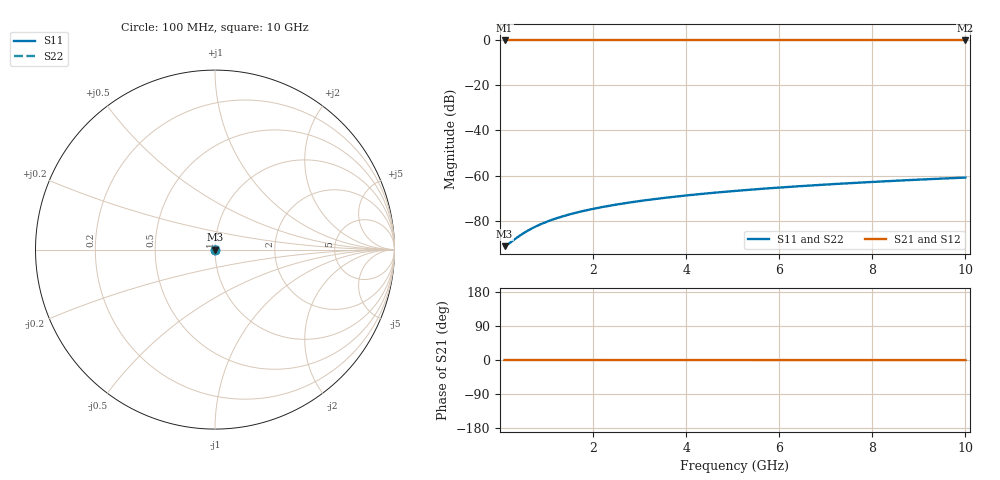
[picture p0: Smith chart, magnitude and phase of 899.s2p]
# Hz S RI R 50.00
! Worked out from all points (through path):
!   100 points, 100 MHz to 10 GHz, reference 50 ohm
!   highest |S21| = 0.00 dB at 100 MHz (marker M1); lowest = 0.0 dB at 10 GHz (marker M2)
!   lowest |S11| = -91.4 dB at 100 MHz (marker M3), VSWR 1.00, Z = 50 + j0.000897 ohm
!   |S11| at or under -10 dB: start of sweep to end of sweep
!   |S22| runs from -91.4 to -60.9 dB; largest |S21 - S12| = 1e-16
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1e8  2.54e-05 8.97e-06  1 -3.14e-05  1 -3.14e-05  2.54e-05 8.97e-06
1e9  2.62e-05 8.97e-05  1 -0.000314  1 -0.000314  2.62e-05 8.97e-05
1.1e9  2.62e-05 9.87e-05  1 -0.000346  1 -0.000346  2.62e-05 9.87e-05
1.2e9  2.62e-05 0.000108  1 -0.000377  1 -0.000377  2.62e-05 0.000108
1.4e9  2.63e-05 0.000126  1 -0.00044  1 -0.00044  2.63e-05 0.000126
1.6e9  2.64e-05 0.000144  1 -0.000503  1 -0.000503  2.64e-05 0.000144
1.8e9  2.65e-05 0.000161  1 -0.000566  1 -0.000566  2.65e-05 0.000161
2.1e9  2.66e-05 0.000188  1 -0.00066  1 -0.00066  2.66e-05 0.000188
2.3e9  2.67e-05 0.000206  1 -0.000723  1 -0.000723  2.67e-05 0.000206
2.5e9  2.68e-05 0.000224  1 -0.000786  1 -0.000786  2.68e-05 0.000224
2.9e9  2.69e-05 0.00026  1 -0.000912  1 -0.000912  2.69e-05 0.00026
3.4e9  2.71e-05 0.000305  1 -0.00107  1 -0.00107  2.71e-05 0.000305
3.8e9  2.73e-05 0.000341  1 -0.00119  1 -0.00119  2.73e-05 0.000341
4.2e9  2.74e-05 0.000377  1 -0.00132  1 -0.00132  2.74e-05 0.000377
4.6e9  2.76e-05 0.000413  1 -0.00145  1 -0.00145  2.76e-05 0.000413
5.1e9  2.78e-05 0.000458  1 -0.0016  1 -0.0016  2.78e-05 0.000458
5.9e9  2.82e-05 0.00053  1 -0.00186  1 -0.00186  2.82e-05 0.00053
6.7e9  2.87e-05 0.000601  1 -0.00211  1 -0.00211  2.87e-05 0.000601
7.5e9  2.91e-05 0.000674  1 -0.00236  1 -0.00236  2.91e-05 0.000674
8.4e9  2.97e-05 0.000755  1 -0.00265  1 -0.00265  2.97e-05 0.000755
9.2e9  3.02e-05 0.000827  1 -0.0029  1 -0.0029  3.02e-05 0.000827
1e10  3.08e-05 0.0009  1 -0.00316  1 -0.00316  3.08e-05 0.0009
